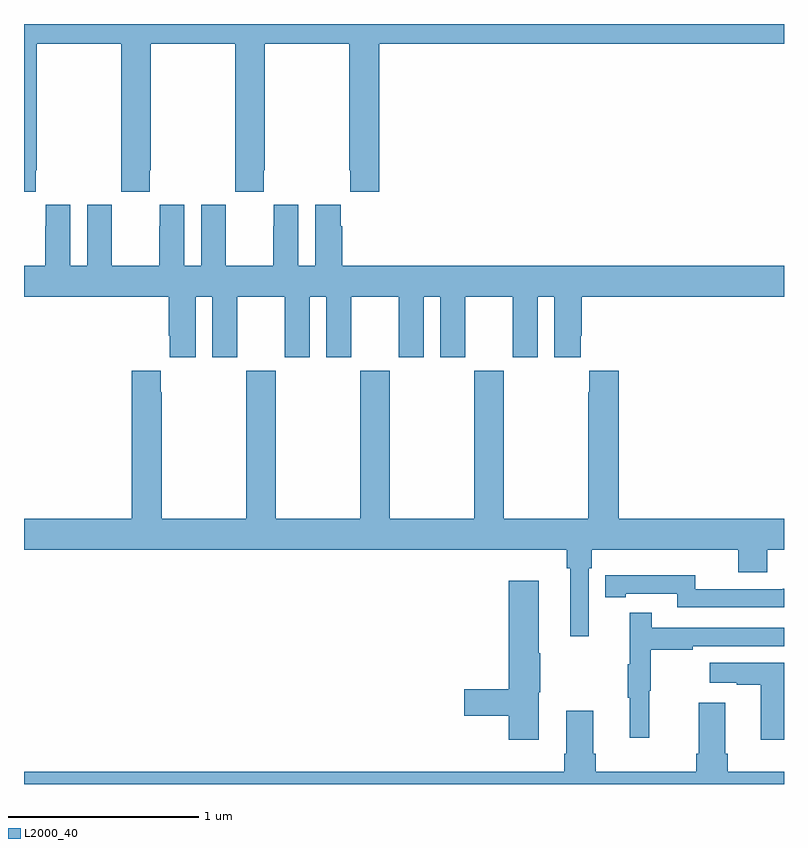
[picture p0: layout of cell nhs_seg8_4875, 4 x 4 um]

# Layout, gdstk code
import gdstk
lib = gdstk.Library(unit=1e-6, precision=1e-09)
def P(c, l, *ps):  # polygons
    for p in ps: c.add(gdstk.Polygon(p, *l))
L2000_40 = (2000, 40)

nhs_seg8_4875 = lib.new_cell('nhs_seg8_4875')
P(nhs_seg8_4875, L2000_40, [(405.063,1153.129),(405.066,1153.129),(405.066,1153.796),(405.511,1153.796),(405.511,1153.129),(405.513,1153.129),(405.513,1153.017),(405.663,1153.017),(405.663,1153.129),(405.666,1153.129),(405.666,1153.796),(406.111,1153.796),(406.111,1153.129),(406.113,1153.129),(406.113,1153.017),(406.263,1153.017),(406.263,1153.129),(406.266,1153.129),(406.266,1153.796),(406.711,1153.796),(406.711,1153.129),(406.717,1153.129),(406.717,1153.017),(406.871,1153.017),(406.871,1153.796),(409,1153.796),(409,1153.9),(405,1153.9),(405,1153.017),(405.063,1153.017)],
  [(405.904,1152.464),(405.992,1152.464),(405.992,1152.147),(406.123,1152.147),(406.123,1152.464),(406.373,1152.464),(406.373,1152.147),(406.504,1152.147),(406.504,1152.464),(406.592,1152.464),(406.592,1152.147),(406.723,1152.147),(406.723,1152.464),(406.973,1152.464),(406.973,1152.147),(407.104,1152.147),(407.104,1152.464),(407.192,1152.464),(407.192,1152.147),(407.323,1152.147),(407.323,1152.464),(407.573,1152.464),(407.573,1152.147),(407.704,1152.147),(407.704,1152.464),(407.792,1152.464),(407.792,1152.147),(407.929,1152.147),(407.929,1152.259),(407.936,1152.259),(407.936,1152.464),(409,1152.464),(409,1152.628),(406.676,1152.628),(406.676,1152.836),(406.666,1152.836),(406.666,1152.949),(406.532,1152.949),(406.532,1152.628),(406.444,1152.628),(406.444,1152.949),(406.314,1152.949),(406.314,1152.836),(406.313,1152.836),(406.313,1152.628),(406.063,1152.628),(406.063,1152.836),(406.062,1152.836),(406.062,1152.949),(405.932,1152.949),(405.932,1152.628),(405.844,1152.628),(405.844,1152.949),(405.714,1152.949),(405.714,1152.836),(405.713,1152.836),(405.713,1152.628),(405.463,1152.628),(405.463,1152.836),(405.462,1152.836),(405.462,1152.949),(405.332,1152.949),(405.332,1152.628),(405.244,1152.628),(405.244,1152.949),(405.114,1152.949),(405.114,1152.836),(405.113,1152.836),(405.113,1152.628),(405,1152.628),(405,1152.464),(405.761,1152.464),(405.761,1152.259),(405.767,1152.259),(405.767,1152.147),(405.904,1152.147)],
  [(407.973,1151.036),(407.987,1151.036),(407.987,1151.132),(408.758,1151.132),(408.758,1151.015),(408.911,1151.015),(408.911,1151.132),(409,1151.132),(409,1151.296),(408.131,1151.296),(408.131,1152.076),(407.975,1152.076),(407.975,1151.963),(407.971,1151.963),(407.971,1151.296),(407.526,1151.296),(407.526,1152.076),(407.371,1152.076),(407.371,1151.296),(406.926,1151.296),(406.926,1152.076),(406.771,1152.076),(406.771,1151.296),(406.326,1151.296),(406.326,1152.076),(406.171,1152.076),(406.171,1151.296),(405.726,1151.296),(405.726,1151.963),(405.721,1151.963),(405.721,1152.076),(405.566,1152.076),(405.566,1151.296),(405,1151.296),(405,1151.132),(407.857,1151.132),(407.857,1151.036),(407.876,1151.036),(407.876,1150.677),(407.973,1150.677)],
  [(409,1150.928),(408.994,1150.928),(408.994,1150.926),(408.534,1150.926),(408.534,1150.999),(408.166,1150.999),(408.166,1150.998),(408.058,1150.998),(408.058,1150.882),(408.166,1150.882),(408.166,1150.902),(408.438,1150.902),(408.438,1150.83),(409,1150.83)],
  [(407.71,1150.383),(407.718,1150.383),(407.718,1150.589),(407.71,1150.589),(407.71,1150.969),(407.552,1150.969),(407.552,1150.4),(407.316,1150.4),(407.316,1150.258),(407.552,1150.258),(407.552,1150.134),(407.71,1150.134)],
  [(408.29,1150.392),(408.298,1150.392),(408.298,1150.606),(408.521,1150.606),(408.521,1150.626),(409,1150.626),(409,1150.722),(408.305,1150.722),(408.305,1150.801),(408.188,1150.801),(408.188,1150.529),(408.177,1150.529),(408.177,1150.355),(408.188,1150.355),(408.188,1150.143),(408.29,1150.143)],
  [(409,1150.537),(408.609,1150.537),(408.609,1150.433),(408.752,1150.433),(408.752,1150.423),(408.878,1150.423),(408.878,1150.134),(409,1150.134)],
  [(409,1149.964),(408.704,1149.964),(408.704,1150.06),(408.691,1150.06),(408.691,1150.327),(408.551,1150.327),(408.551,1150.06),(408.539,1150.06),(408.539,1149.964),(408.008,1149.964),(408.008,1150.06),(407.995,1150.06),(407.995,1150.285),(407.855,1150.285),(407.855,1150.06),(407.843,1150.06),(407.843,1149.964),(405,1149.964),(405,1149.9),(409,1149.9)])

lib.write_gds('nhs_seg8_4875.gds')
